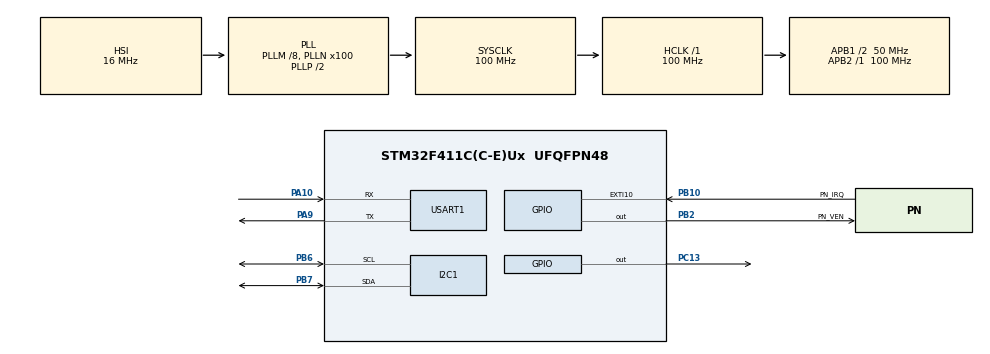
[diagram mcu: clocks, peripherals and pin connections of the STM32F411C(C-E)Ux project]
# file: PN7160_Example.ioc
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I2C1.I2C_Mode=I2C_Fast
Mcu.Family=STM32F4
Mcu.Name=STM32F411C(C-E)Ux
Mcu.Package=UFQFPN48
NVIC.EXTI15_10_IRQn=true\:0\:0\:false\:false\:true\:true\:true\:true
NVIC.PriorityGroup=NVIC_PRIORITYGROUP_4
PA10.Mode=Asynchronous
PA10.Signal=USART1_RX
PA13.Mode=Serial_Wire
PA13.Signal=SYS_JTMS-SWDIO
PA14.Mode=Serial_Wire
PA14.Signal=SYS_JTCK-SWCLK
PA9.Mode=Asynchronous
PA9.Signal=USART1_TX
PB10.GPIO_Label=PN_IRQ
PB10.Signal=GPXTI10
PB2.GPIO_Label=PN_VEN
PB2.Signal=GPIO_Output
PB6.Mode=I2C
PB6.Signal=I2C1_SCL
PB7.Mode=I2C
PB7.Signal=I2C1_SDA
PC13-ANTI_TAMP.Signal=GPIO_Output
PH0\ -\ OSC_IN.Mode=HSE-External-Oscillator
PH0\ -\ OSC_IN.Signal=RCC_OSC_IN
PH1\ -\ OSC_OUT.Mode=HSE-External-Oscillator
PH1\ -\ OSC_OUT.Signal=RCC_OSC_OUT
ProjectManager.HeapSize=0x200
ProjectManager.StackSize=0x400
ProjectManager.TargetToolchain=STM32CubeIDE
RCC.48MHZClocksFreq_Value=50000000
RCC.AHBFreq_Value=100000000
RCC.APB1CLKDivider=RCC_HCLK_DIV2
RCC.APB1Freq_Value=50000000
RCC.APB1TimFreq_Value=100000000
RCC.APB2Freq_Value=100000000
RCC.APB2TimFreq_Value=100000000
RCC.CortexFreq_Value=100000000
RCC.HCLKFreq_Value=100000000
RCC.HSE_VALUE=25000000
RCC.HSI_VALUE=16000000
RCC.LSE_VALUE=32768
RCC.PLLM=8
RCC.PLLN=100
RCC.SYSCLKFreq_VALUE=100000000
RCC.SYSCLKSource=RCC_SYSCLKSOURCE_PLLCLK
RCC.VCOOutputFreq_Value=200000000
USART1.VirtualMode=VM_ASYNC
board=custom

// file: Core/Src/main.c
/* USER CODE BEGIN Header */
/**
  ******************************************************************************
  * @file           : main.c
  * @brief          : Main program body
  ******************************************************************************
  * @attention
  *
  * Copyright (c) 2026 STMicroelectronics.
  * All rights reserved.
  *
  * This software is licensed under terms that can be found in the LICENSE file
  * in the root directory of this software component.
  * If no LICENSE file comes with this software, it is provided AS-IS.
  *
  ******************************************************************************
  */
/* USER CODE END Header */
#include "main.h"

/* USER CODE BEGIN Includes */
#include "ANSII_Codes.h"
#include "PN7160.h"
#include <stdio.h>
#include <string.h>
/* USER CODE END Includes */

/* USER CODE BEGIN PD */
/* -- Tiempos de la batería de pruebas (ajustables) -- */
#define TEST_TAG_MS         20000U  /**< Espera máxima a que se acerque o retire un tag/celular */
#define TEST_TIMEOUT_MS     500U    /**< WaitTag sin tag en el campo: debe tardar esto... */
#define TEST_MARGEN_MS      250U    /**< ...más como mucho esto (RF_DEACTIVATE + su NTF, hasta PN7160_TIMEOUT_MS) */
#define TEST_PRESENTE_MS    1500U   /**< WaitTagRemoval con el tag apoyado: debe agotar este tiempo */
#define TEST_REDETECTAR_MS  2000U   /**< Un tag que sigue apoyado se vuelve a detectar en menos de esto */

/* -- Tags para TestTransceive: 1 = hay que acercar uno de ese tipo, 0 = no se tiene -- */
#define TEST_CON_T2T        1       /**< NTAG / Ultralight */
#define TEST_CON_ISODEP     1       /**< Tarjeta ISO-DEP (bancaria, DESFire, ...) */
#define TEST_CON_MFC        1       /**< MIFARE Classic 1K */

/* -- Clave con formato válido para las pruebas de errores (no toca RF) -- */
#define MFC_CLAVE           0xFFU, 0xFFU, 0xFFU, 0xFFU, 0xFFU, 0xFFU

/* -- MIFARE Classic: las claves conocidas están en mfcClaves (PV) -- */
#define MFC_SECTORES        16U     /**< ponytail: solo 1K; la 4K tiene 40 (32-39 de 16 bloques) */
#define TEST_MFC_BLOQUE     60U     /**< Bloque de datos que se escribe y se restaura */

/* -- UID que anuncia el PN7160 en modo tarjeta (4 bytes, sin 0x08 ni 0x88 al inicio) -- */
#define TEST_CARD_UID       0x12U, 0x34U, 0x56U, 0x78U
/* USER CODE END PD */

/* USER CODE BEGIN PM */
#define PN_CHECK(x)  do { if ((x) != PN7160_OK) { Error_Handler(); } } while (0)
/* Para los tests de error: la llamada debe devolver exactamente el estado esperado */
#define PN_EXPECT(x, st)  do { if ((x) != (st)) { Error_Handler(); } } while (0)
/* Para los tests de valores: la condición debe cumplirse */
#define PN_ASSERT(c)  do { if (!(c)) { Error_Handler(); } } while (0)
/* USER CODE END PM */

I2C_HandleTypeDef hi2c1;

UART_HandleTypeDef huart1;

/* USER CODE BEGIN PV */
PN7160_Status_t status;
static PN7160_Info_t info;              /* identificación leída tras el primer Init */
static PN7160_Tag_t tag;                /* último tag de WaitTag */
static PN7160_Tag_t tagIT;              /* copia del tag que entrega el callback */
static volatile uint8_t tagITListo;     /* lo pone PN7160_TagDetectedCallback */

/* Claves conocidas: en cada sector se prueban, en este orden, como clave A y como clave B */
static const uint8_t mfcClaves[][6] = {
	{ 0xFFU, 0xFFU, 0xFFU, 0xFFU, 0xFFU, 0xFFU },   /* de fábrica */
	{ 0xA0U, 0xA1U, 0xA2U, 0xA3U, 0xA4U, 0xA5U },   /* MAD */
	{ 0xD3U, 0xF7U, 0xD3U, 0xF7U, 0xD3U, 0xF7U },   /* NDEF */
};

/* Ni el bloque 0 (fabricante) ni un trailer: escribir ahí puede inutilizar la tarjeta */
_Static_assert(TEST_MFC_BLOQUE != 0U && (TEST_MFC_BLOQUE % 4U) != 3U && TEST_MFC_BLOQUE < 4U * MFC_SECTORES,
               "TEST_MFC_BLOQUE debe ser un bloque de datos");
/* USER CODE END PV */

void SystemClock_Config(void);
static void MX_GPIO_Init(void);
static void MX_USART1_UART_Init(void);
static void MX_I2C1_Init(void);
/* USER CODE BEGIN PFP */
static PN7160_Status_t PN7160_Iniciar(void);
static void PN7160_TestSuite(void);
static void PN7160_TestPreInit(void);
static void PN7160_TestInfo(void);
static void PN7160_TestErrores(void);
static void PN7160_TestTimeout(void);
static void PN7160_TestLectura(void);
static void PN7160_TestTransceive(void);
static void PN7160_TestIT(void);
static void PN7160_TestModoTarjeta(void);
static void PN7160_TestDeInit(void);
/* USER CODE END PFP */

int main(void)
{

  /* MCU Configuration--------------------------------------------------------*/

  /* Reset of all peripherals, Initializes the Flash interface and the Systick. */
  HAL_Init();

  /* Configure the system clock */
  SystemClock_Config();

  /* Initialize all configured peripherals */
  MX_GPIO_Init();
  MX_USART1_UART_Init();
  MX_I2C1_Init();
  /* USER CODE BEGIN 2 */
  printf(CLEAR_SCREEN CURSOR_HOME COLOR_BOLD COLOR_CYAN "=== Pruebas PN7160 ===" COLOR_RESET "\r\n");
  PN7160_TestPreInit();

  status = PN7160_Iniciar();
  if(status != PN7160_OK)
  {
	  Error_Handler();
  }
  else
  {
	  HAL_GPIO_WritePin(GPIOC, GPIO_PIN_13, GPIO_PIN_RESET);
  }
  PN_CHECK(PN7160_GetInfo(&info));
  /* USER CODE END 2 */

  /* Infinite loop */
  while (1)
  {

    /* USER CODE BEGIN 3 */
    PN7160_TestSuite();
  }
  /* USER CODE END 3 */
}

void SystemClock_Config(void)
{
  RCC_OscInitTypeDef RCC_OscInitStruct = {0};
  RCC_ClkInitTypeDef RCC_ClkInitStruct = {0};

  /** Configure the main internal regulator output voltage
  */
  __HAL_RCC_PWR_CLK_ENABLE();
  __HAL_PWR_VOLTAGESCALING_CONFIG(PWR_REGULATOR_VOLTAGE_SCALE1);

  /** Initializes the RCC Oscillators according to the specified parameters
  * in the RCC_OscInitTypeDef structure.
  */
  RCC_OscInitStruct.OscillatorType = RCC_OSCILLATORTYPE_HSI;
  RCC_OscInitStruct.HSIState = RCC_HSI_ON;
  RCC_OscInitStruct.HSICalibrationValue = RCC_HSICALIBRATION_DEFAULT;
  RCC_OscInitStruct.PLL.PLLState = RCC_PLL_ON;
  RCC_OscInitStruct.PLL.PLLSource = RCC_PLLSOURCE_HSI;
  RCC_OscInitStruct.PLL.PLLM = 8;
  RCC_OscInitStruct.PLL.PLLN = 100;
  RCC_OscInitStruct.PLL.PLLP = RCC_PLLP_DIV2;
  RCC_OscInitStruct.PLL.PLLQ = 4;
  if (HAL_RCC_OscConfig(&RCC_OscInitStruct) != HAL_OK)
  {
    Error_Handler();
  }

  /** Initializes the CPU, AHB and APB buses clocks
  */
  RCC_ClkInitStruct.ClockType = RCC_CLOCKTYPE_HCLK|RCC_CLOCKTYPE_SYSCLK
                              |RCC_CLOCKTYPE_PCLK1|RCC_CLOCKTYPE_PCLK2;
  RCC_ClkInitStruct.SYSCLKSource = RCC_SYSCLKSOURCE_PLLCLK;
  RCC_ClkInitStruct.AHBCLKDivider = RCC_SYSCLK_DIV1;
  RCC_ClkInitStruct.APB1CLKDivider = RCC_HCLK_DIV2;
  RCC_ClkInitStruct.APB2CLKDivider = RCC_HCLK_DIV1;

  if (HAL_RCC_ClockConfig(&RCC_ClkInitStruct, FLASH_LATENCY_3) != HAL_OK)
  {
    Error_Handler();
  }
}

static void MX_I2C1_Init(void)
{

  hi2c1.Instance = I2C1;
  hi2c1.Init.ClockSpeed = 400000;
  hi2c1.Init.DutyCycle = I2C_DUTYCYCLE_2;
  hi2c1.Init.OwnAddress1 = 0;
  hi2c1.Init.AddressingMode = I2C_ADDRESSINGMODE_7BIT;
  hi2c1.Init.DualAddressMode = I2C_DUALADDRESS_DISABLE;
  hi2c1.Init.OwnAddress2 = 0;
  hi2c1.Init.GeneralCallMode = I2C_GENERALCALL_DISABLE;
  hi2c1.Init.NoStretchMode = I2C_NOSTRETCH_DISABLE;
  if (HAL_I2C_Init(&hi2c1) != HAL_OK)
  {
    Error_Handler();
  }

}

static void MX_USART1_UART_Init(void)
{

  huart1.Instance = USART1;
  huart1.Init.BaudRate = 115200;
  huart1.Init.WordLength = UART_WORDLENGTH_8B;
  huart1.Init.StopBits = UART_STOPBITS_1;
  huart1.Init.Parity = UART_PARITY_NONE;
  huart1.Init.Mode = UART_MODE_TX_RX;
  huart1.Init.HwFlowCtl = UART_HWCONTROL_NONE;
  huart1.Init.OverSampling = UART_OVERSAMPLING_16;
  if (HAL_UART_Init(&huart1) != HAL_OK)
  {
    Error_Handler();
  }

}

static void MX_GPIO_Init(void)
{
  GPIO_InitTypeDef GPIO_InitStruct = {0};

  /* GPIO Ports Clock Enable */
  __HAL_RCC_GPIOC_CLK_ENABLE();
  __HAL_RCC_GPIOH_CLK_ENABLE();
  __HAL_RCC_GPIOB_CLK_ENABLE();
  __HAL_RCC_GPIOA_CLK_ENABLE();

  /*Configure GPIO pin Output Level */
  HAL_GPIO_WritePin(GPIOC, GPIO_PIN_13, GPIO_PIN_RESET);

  /*Configure GPIO pin Output Level */
  HAL_GPIO_WritePin(PN_VEN_GPIO_Port, PN_VEN_Pin, GPIO_PIN_RESET);

  /*Configure GPIO pin : PC13 */
  GPIO_InitStruct.Pin = GPIO_PIN_13;
  GPIO_InitStruct.Mode = GPIO_MODE_OUTPUT_PP;
  GPIO_InitStruct.Pull = GPIO_NOPULL;
  GPIO_InitStruct.Speed = GPIO_SPEED_FREQ_LOW;
  HAL_GPIO_Init(GPIOC, &GPIO_InitStruct);

  /*Configure GPIO pin : PN_VEN_Pin */
  GPIO_InitStruct.Pin = PN_VEN_Pin;
  GPIO_InitStruct.Mode = GPIO_MODE_OUTPUT_PP;
  GPIO_InitStruct.Pull = GPIO_NOPULL;
  GPIO_InitStruct.Speed = GPIO_SPEED_FREQ_LOW;
  HAL_GPIO_Init(PN_VEN_GPIO_Port, &GPIO_InitStruct);

  /*Configure GPIO pin : PN_IRQ_Pin */
  GPIO_InitStruct.Pin = PN_IRQ_Pin;
  GPIO_InitStruct.Mode = GPIO_MODE_IT_RISING;
  GPIO_InitStruct.Pull = GPIO_NOPULL;
  HAL_GPIO_Init(PN_IRQ_GPIO_Port, &GPIO_InitStruct);

  /* EXTI interrupt init*/
  HAL_NVIC_SetPriority(EXTI15_10_IRQn, 0, 0);
  HAL_NVIC_EnableIRQ(EXTI15_10_IRQn);

}

/* USER CODE BEGIN 4 */

/* printf por USART1 (PA9): syscalls.c redirige _write a esta función débil */
int __io_putchar(int ch)
{
	uint8_t c = (uint8_t)ch;
	HAL_UART_Transmit(&huart1, &c, 1, HAL_MAX_DELAY);
	return ch;
}

/* IRQ del PN7160 (PB10, flanco de subida): solo marca la bandera, el trabajo lo hace PN7160_Process */
void HAL_GPIO_EXTI_Callback(uint16_t GPIO_Pin)
{
	if (GPIO_Pin == PN_IRQ_Pin)
	{
		PN7160_IRQ_Handler();
	}
}

/* Redefine el callback __weak de la librería: copia el tag y avisa al bucle de TestIT */
void PN7160_TagDetectedCallback(const PN7160_Tag_t* t)
{
	tagIT = *t;
	tagITListo = 1U;
}

static PN7160_Status_t PN7160_Iniciar(void)
{
	return PN7160_Init(&hi2c1, PN_VEN_GPIO_Port, PN_VEN_Pin, PN_IRQ_GPIO_Port, PN_IRQ_Pin);
}

static void PN7160_ImprimirHex(const char* nombre, const uint8_t* d, uint16_t n)
{
	printf("  %s", nombre);
	for (uint16_t i = 0; i < n; i++)
	{
		printf(" %02X", d[i]);
	}
	printf("\r\n");
}

static void PN7160_Imprimir(const PN7160_Tag_t* t)
{
	printf("  Tec 0x%02X  Proto 0x%02X  ATQA %02X %02X  SAK 0x%02X\r\n",
	       t->tecnologia, t->protocolo, t->atqa[0], t->atqa[1], t->sak);
	PN7160_ImprimirHex("UID:", t->uid, t->uidLen);
}

/* Coherencia de un tag leído en modo lector: longitud de UID por tecnología y SAK por protocolo */
static void PN7160_CheckTag(const PN7160_Tag_t* t)
{
	switch (t->tecnologia)
	{
	case PN7160_TEC_NFC_A:
		PN_ASSERT(t->uidLen == 4U || t->uidLen == 7U || t->uidLen == 10U);
		PN_ASSERT(t->atqa[0] != 0U || t->atqa[1] != 0U);
		if (t->protocolo == PN7160_PROT_T2T)    { PN_ASSERT(t->sak == 0x00U); }
		if (t->protocolo == PN7160_PROT_ISODEP) { PN_ASSERT((t->sak & 0x20U) != 0U); }   /* bit ISO 14443-4 */
		if (t->protocolo == PN7160_PROT_MIFARE) { PN_ASSERT((t->sak & 0x18U) != 0U); }   /* 0x08 1K, 0x18 4K, 0x09 Mini */
		break;
	case PN7160_TEC_NFC_B:
		PN_ASSERT(t->uidLen == 4U);
		break;
	case PN7160_TEC_NFC_F:
	case PN7160_TEC_NFC_V:
		PN_ASSERT(t->uidLen == 8U);
		break;
	default:
		PN_ASSERT(0);
	}

	/* ATQA y SAK solo existen en NFC-A */
	if (t->tecnologia != PN7160_TEC_NFC_A)
	{
		PN_ASSERT(t->atqa[0] == 0U && t->atqa[1] == 0U && t->sak == 0U);
	}
}

/* Mismo tag en dos lecturas. Un NFCID1 de 4 bytes que empieza por 0x08 (ISO 14443-3) y el
   PUPI de NFC-B pueden ser aleatorios: cambian en cada activación, así que no se comparan */
static uint8_t PN7160_MismoTag(const PN7160_Tag_t* a, const PN7160_Tag_t* b)
{
	uint8_t uidAleatorio = (a->tecnologia == PN7160_TEC_NFC_B) ||
	                       (a->tecnologia == PN7160_TEC_NFC_A && a->uidLen == 4U && a->uid[0] == 0x08U);

	return a->tecnologia == b->tecnologia && a->protocolo == b->protocolo &&
	       a->uidLen == b->uidLen && a->sak == b->sak && memcmp(a->atqa, b->atqa, 2) == 0 &&
	       (uidAleatorio || memcmp(a->uid, b->uid, a->uidLen) == 0);
}

/* Pide un tag y espera hasta TEST_TAG_MS */
static void PN7160_EsperarTag(const char* que, uint8_t keepActive)
{
	printf("  Acerca %s...\r\n", que);
	uint32_t t0 = HAL_GetTick();
	status = PN7160_WaitTag(&tag, TEST_TAG_MS, keepActive);
	if (status != PN7160_OK)
	{
		printf("  WaitTag devolvio %d (1 = ERROR, 2 = TIMEOUT) a los %lu ms\r\n",
		       (int)status, (unsigned long)(HAL_GetTick() - t0));
		Error_Handler();
	}
	PN7160_Imprimir(&tag);
}

/* Deja el campo vacío: si queda algo (tag o celular) lo activa y espera a que se retire */
static void PN7160_EsperarRetirada(void)
{
	status = PN7160_WaitTag(&tag, 1000U, 1U);
	if (status == PN7160_TIMEOUT)
	{
		return;   /* ya no había nada */
	}
	PN_CHECK(status);

	printf("  Retira el tag...\r\n");
	PN_CHECK(PN7160_WaitTagRemoval(TEST_TAG_MS));
}

/* Atiende el descubrimiento IT hasta que llega el callback o pasan ms; 1 = llegó */
static uint8_t PN7160_ProcesarHasta(uint32_t ms)
{
	uint32_t t0 = HAL_GetTick();
	while (!tagITListo && (HAL_GetTick() - t0) < ms)
	{
		PN_CHECK(PN7160_Process());
	}
	return tagITListo;
}

/* Parámetros inválidos: se validan antes del estado, así que dan INVALID_PARAM con o sin Init */
static void PN7160_CheckParametros(void)
{
	static const uint8_t uid[] = { TEST_CARD_UID };
	uint8_t rx[4];
	uint16_t n = sizeof(rx);

	PN_EXPECT(PN7160_Init(NULL, PN_VEN_GPIO_Port, PN_VEN_Pin, PN_IRQ_GPIO_Port, PN_IRQ_Pin), PN7160_INVALID_PARAM);
	PN_EXPECT(PN7160_Init(&hi2c1, NULL, PN_VEN_Pin, PN_IRQ_GPIO_Port, PN_IRQ_Pin), PN7160_INVALID_PARAM);
	PN_EXPECT(PN7160_Init(&hi2c1, PN_VEN_GPIO_Port, PN_VEN_Pin, NULL, PN_IRQ_Pin), PN7160_INVALID_PARAM);

	PN_EXPECT(PN7160_GetInfo(NULL), PN7160_INVALID_PARAM);
	PN_EXPECT(PN7160_SetMode((PN7160_Mode_t)2), PN7160_INVALID_PARAM);

	PN_EXPECT(PN7160_SetCardUid(uid, 3U), PN7160_INVALID_PARAM);
	PN_EXPECT(PN7160_SetCardUid(uid, 5U), PN7160_INVALID_PARAM);
	PN_EXPECT(PN7160_SetCardUid(uid, 11U), PN7160_INVALID_PARAM);
	PN_EXPECT(PN7160_SetCardUid(NULL, 4U), PN7160_INVALID_PARAM);

	PN_EXPECT(PN7160_WaitTag(NULL, 10U, 0U), PN7160_INVALID_PARAM);

	PN_EXPECT(PN7160_Transceive(NULL, 1U, rx, &n), PN7160_INVALID_PARAM);
	PN_EXPECT(PN7160_Transceive(uid, 1U, NULL, &n), PN7160_INVALID_PARAM);
	PN_EXPECT(PN7160_Transceive(uid, 1U, rx, NULL), PN7160_INVALID_PARAM);
}

/* Con el módulo sin inicializar, todo debe devolver NOT_INITIALIZED sin tocar el bus */
static void PN7160_CheckSinInit(void)
{
	static const uint8_t uid[] = { TEST_CARD_UID };
	static const uint8_t clave[6] = { MFC_CLAVE };
	PN7160_Info_t inf;
	uint8_t rx[4], rx16[16] = { 0 };
	uint16_t n = sizeof(rx);

	PN_EXPECT(PN7160_DeInit(), PN7160_NOT_INITIALIZED);
	PN_EXPECT(PN7160_GetInfo(&inf), PN7160_NOT_INITIALIZED);
	PN_EXPECT(PN7160_SetMode(PN7160_MODE_READER), PN7160_NOT_INITIALIZED);
	PN_EXPECT(PN7160_SetCardUid(uid, sizeof(uid)), PN7160_NOT_INITIALIZED);
	PN_EXPECT(PN7160_SetCardUid(NULL, 0U), PN7160_NOT_INITIALIZED);
	PN_EXPECT(PN7160_WaitTag(&tag, 10U, 0U), PN7160_NOT_INITIALIZED);
	PN_EXPECT(PN7160_Transceive(NULL, 0U, rx, &n), PN7160_NOT_INITIALIZED);
	PN_EXPECT(PN7160_ReleaseTag(), PN7160_NOT_INITIALIZED);
	PN_EXPECT(PN7160_WaitTagRemoval(10U), PN7160_NOT_INITIALIZED);
	PN_EXPECT(PN7160_MfcAuth(0U, 0U, clave), PN7160_NOT_INITIALIZED);
	PN_EXPECT(PN7160_MfcRead(0U, rx16), PN7160_NOT_INITIALIZED);
	PN_EXPECT(PN7160_MfcWrite(4U, rx16), PN7160_NOT_INITIALIZED);
	PN_EXPECT(PN7160_StartDiscoveryIT(0U), PN7160_NOT_INITIALIZED);
	PN_EXPECT(PN7160_Process(), PN7160_NOT_INITIALIZED);

	/* Solo pone una bandera: no debe colgarse ni hacer que Process trabaje sin Init */
	PN7160_IRQ_Handler();
	PN_EXPECT(PN7160_Process(), PN7160_NOT_INITIALIZED);
}

static void PN7160_TestSuite(void)
{
	PN7160_TestInfo();
	HAL_Delay(2000);

	PN7160_TestErrores();
	HAL_Delay(2000);

	PN7160_TestTimeout();
	HAL_Delay(2000);

	PN7160_TestLectura();
	HAL_Delay(2000);

	PN7160_TestTransceive();
	HAL_Delay(2000);

	PN7160_TestIT();
	HAL_Delay(2000);

	PN7160_TestModoTarjeta();
	HAL_Delay(2000);

	PN7160_TestDeInit();
	HAL_Delay(2000);
}

static void PN7160_TestPreInit(void)
{
	/* -- Antes de Init: parámetros inválidos y NOT_INITIALIZED en todo -- */
	printf(COLOR_YELLOW "[PreInit]" COLOR_RESET "\r\n");
	PN7160_CheckParametros();
	PN7160_CheckSinInit();

	printf(COLOR_GREEN "PreInit OK" COLOR_RESET "\r\n");
}

static void PN7160_TestInfo(void)
{
	PN7160_Info_t inf;

	/* -- Model ID y firmware del CORE_RESET_NTF; GetInfo no habla con el chip -- */
	printf(COLOR_YELLOW "[Info]" COLOR_RESET "\r\n");
	PN_CHECK(PN7160_GetInfo(&inf));
	printf("  Modelo 0x%02X (%s)  Firmware %02X.%02X.%02X\r\n", inf.modelo,
	       (inf.modelo == 0x61U) ? "PN7160" : (inf.modelo == 0x71U) ? "PN7161" : "?",
	       inf.firmware[0], inf.firmware[1], inf.firmware[2]);
	PN_ASSERT(inf.modelo == 0x61U || inf.modelo == 0x71U);

	/* Es la copia del último Init: igual a la que se guardó al arrancar */
	PN_ASSERT(memcmp(&inf, &info, sizeof(inf)) == 0);

	printf(COLOR_GREEN "Info OK" COLOR_RESET "\r\n");
}

static void PN7160_TestErrores(void)
{
	PN7160_Info_t inf;
	uint8_t rx[4];
	uint16_t n = sizeof(rx);

	/* -- Ya inicializado: parámetros inválidos siguen dando INVALID_PARAM -- */
	printf(COLOR_YELLOW "[Errores]" COLOR_RESET "\r\n");
	PN7160_CheckParametros();

	/* Un Init con parámetros inválidos no desinicializa el módulo */
	PN_CHECK(PN7160_GetInfo(&inf));

	/* -- Sin tag activado: Transceive y WaitTagRemoval dan ERROR, ReleaseTag no hace nada -- */
	PN_EXPECT(PN7160_Transceive(NULL, 0U, rx, &n), PN7160_ERROR);
	PN_EXPECT(PN7160_WaitTagRemoval(100U), PN7160_ERROR);
	PN_CHECK(PN7160_ReleaseTag());

	/* -- MIFARE: NULL da INVALID_PARAM; sin tag activado, ERROR -- */
	static const uint8_t clave[6] = { MFC_CLAVE };
	uint8_t bloque[16] = { 0 };
	PN_EXPECT(PN7160_MfcAuth(0U, 0U, NULL), PN7160_INVALID_PARAM);
	PN_EXPECT(PN7160_MfcAuth(40U, 0U, clave), PN7160_INVALID_PARAM);    /* 4K llega al sector 39 */
	PN_EXPECT(PN7160_MfcAuth(0U, 2U, clave), PN7160_INVALID_PARAM);     /* keyB es 0 o 1 */
	PN_EXPECT(PN7160_MfcRead(0U, NULL), PN7160_INVALID_PARAM);
	PN_EXPECT(PN7160_MfcWrite(4U, NULL), PN7160_INVALID_PARAM);
	PN_EXPECT(PN7160_MfcAuth(0U, 0U, clave), PN7160_ERROR);
	PN_EXPECT(PN7160_MfcRead(0U, bloque), PN7160_ERROR);
	PN_EXPECT(PN7160_MfcWrite(4U, bloque), PN7160_ERROR);

	/* -- Sin descubrimiento IT armado, Process regresa de inmediato -- */
	PN_CHECK(PN7160_Process());

	/* -- Modo lector sobre modo lector y UID dinámico en modo lector: solo configuran -- */
	PN_CHECK(PN7160_SetMode(PN7160_MODE_READER));
	PN_CHECK(PN7160_SetCardUid(NULL, 0U));

	printf(COLOR_GREEN "Errores OK" COLOR_RESET "\r\n");
}

static void PN7160_TestTimeout(void)
{
	/* -- Sin tag en el campo, WaitTag agota exactamente su tiempo -- */
	printf(COLOR_YELLOW "[Timeout]" COLOR_RESET "\r\n");
	PN7160_EsperarRetirada();

	uint32_t t0 = HAL_GetTick();
	PN_EXPECT(PN7160_WaitTag(&tag, TEST_TIMEOUT_MS, 0U), PN7160_TIMEOUT);
	uint32_t dt = HAL_GetTick() - t0;
	printf("  WaitTag(%u ms) tardo %lu ms\r\n", (unsigned)TEST_TIMEOUT_MS, (unsigned long)dt);
	PN_ASSERT(dt >= TEST_TIMEOUT_MS && dt < TEST_TIMEOUT_MS + TEST_MARGEN_MS);

	/* Con keepActive = 1 también vuelve a RFST_IDLE: no queda tag para Transceive */
	PN_EXPECT(PN7160_WaitTag(&tag, TEST_TIMEOUT_MS, 1U), PN7160_TIMEOUT);
	PN_EXPECT(PN7160_WaitTagRemoval(100U), PN7160_ERROR);

	/* timeoutMs = 0: arranca y cancela el descubrimiento sin esperar */
	PN_EXPECT(PN7160_WaitTag(&tag, 0U, 0U), PN7160_TIMEOUT);

	printf(COLOR_GREEN "Timeout OK" COLOR_RESET "\r\n");
}

static void PN7160_TestLectura(void)
{
	PN7160_Tag_t primero;
	uint8_t rx[4];
	uint16_t n = sizeof(rx);

	/* -- Lectura sin keepActive: datos coherentes y vuelve a RFST_IDLE -- */
	printf(COLOR_YELLOW "[Lectura]" COLOR_RESET "\r\n");
	PN7160_EsperarTag("un tag cualquiera y dejalo apoyado", 0U);
	PN7160_CheckTag(&tag);
	primero = tag;

	PN_EXPECT(PN7160_Transceive(NULL, 0U, rx, &n), PN7160_ERROR);
	PN_EXPECT(PN7160_WaitTagRemoval(100U), PN7160_ERROR);

	/* -- Mismo tag, ahora activado: mismos datos -- */
	PN_CHECK(PN7160_WaitTag(&tag, TEST_REDETECTAR_MS, 1U));
	PN_ASSERT(PN7160_MismoTag(&tag, &primero));

	/* -- Con el tag apoyado WaitTagRemoval agota su tiempo y deja RFST_IDLE (sin tag activado) -- */
	uint32_t t0 = HAL_GetTick();
	PN_EXPECT(PN7160_WaitTagRemoval(TEST_PRESENTE_MS), PN7160_TIMEOUT);
	PN_ASSERT((HAL_GetTick() - t0) >= TEST_PRESENTE_MS);
	PN_EXPECT(PN7160_WaitTagRemoval(100U), PN7160_ERROR);

	/* -- Activado otra vez: ahora sí se retira -- */
	PN_CHECK(PN7160_WaitTag(&tag, TEST_REDETECTAR_MS, 1U));
	printf("  Retira el tag...\r\n");
	PN_CHECK(PN7160_WaitTagRemoval(TEST_TAG_MS));

	/* Retirado y en RFST_IDLE: sin tag en el campo, el siguiente WaitTag no encuentra nada */
	PN_EXPECT(PN7160_WaitTag(&tag, TEST_TIMEOUT_MS, 0U), PN7160_TIMEOUT);

	printf(COLOR_GREEN "Lectura OK" COLOR_RESET "\r\n");
}

/* T2T (Frame RF): READ 0x30 devuelve 4 páginas (16 bytes) + byte de estado NCI */
static void PN7160_ProbarT2T(void)
{
	static const uint8_t leer0[] = { 0x30U, 0x00U };   /* READ desde la página 0 */
	uint8_t pag[32];
	uint8_t rx[32];
	uint16_t n = sizeof(pag);

	PN_CHECK(PN7160_Transceive(leer0, sizeof(leer0), pag, &n));
	PN7160_ImprimirHex("Paginas 0-3:", pag, n);
	PN_ASSERT(n == 17U && pag[16] == 0x00U);

	/* Página 0 = UID0 UID1 UID2 BCC0, página 1 = UID3..UID6; BCC0 = 0x88 ^ UID0 ^ UID1 ^ UID2 */
	if (tag.uidLen == 7U)
	{
		PN_ASSERT(memcmp(&pag[0], &tag.uid[0], 3) == 0 && memcmp(&pag[4], &tag.uid[3], 4) == 0);
		PN_ASSERT(pag[3] == (uint8_t)(0x88U ^ tag.uid[0] ^ tag.uid[1] ^ tag.uid[2]));
	}

	/* -- Buffer chico: devuelve ERROR con los bytes que sí cupieron, y el tag sigue respondiendo -- */
	n = 4U;
	PN_EXPECT(PN7160_Transceive(leer0, sizeof(leer0), rx, &n), PN7160_ERROR);
	PN_ASSERT(n == 4U && memcmp(rx, pag, 4) == 0);

	n = sizeof(rx);
	PN_CHECK(PN7160_Transceive(leer0, sizeof(leer0), rx, &n));
	PN_ASSERT(n == 17U && memcmp(rx, pag, 17) == 0);
}

/* ISO-DEP: APDU completos. SELECT PPSE responde 9000 en una bancaria, otro SW en el resto */
static void PN7160_ProbarIsoDep(void)
{
	static const uint8_t ppse[] = { 0x00U, 0xA4U, 0x04U, 0x00U, 0x0EU,
	                                '2', 'P', 'A', 'Y', '.', 'S', 'Y', 'S', '.', 'D', 'D', 'F', '0', '1',
	                                0x00U };
	uint8_t rx[258];
	uint16_t n = sizeof(rx);

	PN_CHECK(PN7160_Transceive(ppse, sizeof(ppse), rx, &n));
	PN7160_ImprimirHex("R-APDU:", rx, n);
	PN_ASSERT(n >= 2U);

	/* SW1 válido según ISO 7816-4: 0x6X o 0x9X */
	uint8_t sw1 = rx[n - 2U];
	printf("  SW %02X%02X (9000 = bancaria, 6A82 = sin PPSE)\r\n", sw1, rx[n - 1U]);
	PN_ASSERT((sw1 & 0xF0U) == 0x60U || (sw1 & 0xF0U) == 0x90U);
}

/* Una clave incorrecta deja la tarjeta en HALT: se apaga el campo y se vuelve a activar */
static void PN7160_ReactivarMfc(void)
{
	PN7160_Tag_t antes = tag;

	PN_CHECK(PN7160_ReleaseTag());
	PN_CHECK(PN7160_WaitTag(&tag, TEST_REDETECTAR_MS, 1U));
	PN_ASSERT(PN7160_MismoTag(&tag, &antes));
}

/* Prueba las claves de mfcClaves en el sector (keyB: 0 = A, 1 = B) y devuelve el índice de la que
   entra. Una clave incorrecta debe dar exactamente ERROR; si ninguna entra, la prueba falla */
static uint8_t PN7160_BuscarClaveMfc(uint8_t sector, uint8_t keyB)
{
	char nombre[24];

	for (uint8_t k = 0; k < sizeof(mfcClaves) / sizeof(mfcClaves[0]); k++)
	{
		status = PN7160_MfcAuth(sector, keyB, mfcClaves[k]);
		if (status == PN7160_OK)
		{
			snprintf(nombre, sizeof(nombre), "Sector %2u, clave %c:", (unsigned)sector, keyB ? 'B' : 'A');
			PN7160_ImprimirHex(nombre, mfcClaves[k], 6U);
			return k;
		}
		PN_ASSERT(status == PN7160_ERROR);
		PN7160_ReactivarMfc();
	}

	printf("  Sector %u: ninguna clave %c conocida\r\n", (unsigned)sector, keyB ? 'B' : 'A');
	Error_Handler();
	return 0U;
}

/* MIFARE Classic con los wrappers del driver (TAG-CMD de NXP): busca las claves A y B de cada
   sector, vuelca la tarjeta y escribe TEST_MFC_BLOQUE restaurándolo después */
static void PN7160_ProbarMfc(void)
{
	static const uint8_t ceros[6] = { 0 };
	uint8_t claveA[MFC_SECTORES];
	uint8_t rx[16], orig[16], patron[16];
	char nombre[24];

	/* -- Volcado: claves B y A de cada sector, y lectura de sus 4 bloques con la A -- */
	for (uint8_t s = 0; s < MFC_SECTORES; s++)
	{
		/* La B solo se busca: si los access bits dejan leerla, autentica pero no da acceso a los
		   bloques. La A va después porque es con la que se lee */
		(void)PN7160_BuscarClaveMfc(s, 1U);
		claveA[s] = PN7160_BuscarClaveMfc(s, 0U);

		for (uint8_t b = 4U * s; b < 4U * s + 4U; b++)
		{
			PN_CHECK(PN7160_MfcRead(b, rx));
			snprintf(nombre, sizeof(nombre), "  Bloque %2u:", (unsigned)b);
			PN7160_ImprimirHex(nombre, rx, sizeof(rx));
		}

		/* La clave A nunca se puede leer: el trailer (último bloque leído) la devuelve en ceros */
		PN_ASSERT(memcmp(rx, ceros, sizeof(ceros)) == 0);

		/* El bloque 0 (fabricante) empieza por el UID; con 4 bytes le sigue el BCC (XOR del UID) */
		if (s == 0U)
		{
			PN_CHECK(PN7160_MfcRead(0U, rx));
			PN_ASSERT(memcmp(rx, tag.uid, tag.uidLen) == 0);
			if (tag.uidLen == 4U)
			{
				PN_ASSERT(rx[4] == (uint8_t)(tag.uid[0] ^ tag.uid[1] ^ tag.uid[2] ^ tag.uid[3]));
			}
		}
	}

	/* -- Escritura: patrón invertido, relectura, y se restaura el original antes de comprobar -- */
	const uint8_t s = TEST_MFC_BLOQUE / 4U;
	PN_CHECK(PN7160_MfcAuth(s, 0U, mfcClaves[claveA[s]]));
	PN_CHECK(PN7160_MfcRead(TEST_MFC_BLOQUE, orig));
	for (uint8_t i = 0; i < sizeof(patron); i++)
	{
		patron[i] = (uint8_t)~orig[i];
	}

	PN_CHECK(PN7160_MfcWrite(TEST_MFC_BLOQUE, patron));
	PN_CHECK(PN7160_MfcRead(TEST_MFC_BLOQUE, rx));
	uint8_t escrito = (memcmp(rx, patron, sizeof(rx)) == 0);

	PN_CHECK(PN7160_MfcWrite(TEST_MFC_BLOQUE, orig));
	PN_CHECK(PN7160_MfcRead(TEST_MFC_BLOQUE, rx));
	printf("  Bloque %u: escrito %s, restaurado %s\r\n", (unsigned)TEST_MFC_BLOQUE,
	       escrito ? "OK" : "MAL", (memcmp(rx, orig, sizeof(rx)) == 0) ? "OK" : "MAL");
	PN_ASSERT(escrito && memcmp(rx, orig, sizeof(rx)) == 0);
}

static void PN7160_TestTransceive(void)
{
	uint8_t faltaT2T = TEST_CON_T2T, faltaIsoDep = TEST_CON_ISODEP, faltaMfc = TEST_CON_MFC;
	uint8_t rx[4], bloque[16];
	uint16_t n;

	/* -- Un tag de cada protocolo, en cualquier orden; repetir uno no cuenta dos veces -- */
	printf(COLOR_YELLOW "[Transceive]" COLOR_RESET "\r\n");
	while (faltaT2T || faltaIsoDep || faltaMfc)
	{
		printf("  Faltan:%s%s%s\r\n", faltaT2T ? " T2T" : "", faltaIsoDep ? " ISO-DEP" : "",
		       faltaMfc ? " MIFARE-Classic" : "");
		PN7160_EsperarTag("uno de ellos", 1U);
		PN7160_CheckTag(&tag);

		/* -- Los wrappers MIFARE rechazan otro protocolo sin mandar nada por RF -- */
		if (tag.protocolo != PN7160_PROT_MIFARE)
		{
			PN_EXPECT(PN7160_MfcRead(0U, bloque), PN7160_ERROR);
		}

		switch (tag.protocolo)
		{
		case PN7160_PROT_T2T:    PN7160_ProbarT2T();    faltaT2T = 0U;    break;
		case PN7160_PROT_ISODEP: PN7160_ProbarIsoDep(); faltaIsoDep = 0U; break;
		case PN7160_PROT_MIFARE: PN7160_ProbarMfc();    faltaMfc = 0U;    break;
		default:           printf("  Protocolo sin prueba de Transceive\r\n"); break;
		}

		/* -- ReleaseTag apaga el campo: ya no hay tag para Transceive; repetirlo no hace nada -- */
		PN_CHECK(PN7160_ReleaseTag());
		n = sizeof(rx);
		PN_EXPECT(PN7160_Transceive(NULL, 0U, rx, &n), PN7160_ERROR);
		PN_CHECK(PN7160_ReleaseTag());

		PN7160_EsperarRetirada();
	}

	printf(COLOR_GREEN "Transceive OK" COLOR_RESET "\r\n");
}

static void PN7160_TestIT(void)
{
	PN7160_Tag_t primero;
	uint8_t rx[4];
	uint16_t n = sizeof(rx);

	/* -- Detección por callback, dejando el tag activado -- */
	printf(COLOR_YELLOW "[Interrupcion]" COLOR_RESET "\r\n");
	tagITListo = 0U;
	PN_CHECK(PN7160_StartDiscoveryIT(1U));
	printf("  Acerca un tag y dejalo apoyado...\r\n");
	PN_ASSERT(PN7160_ProcesarHasta(TEST_TAG_MS));
	PN7160_Imprimir(&tagIT);
	PN7160_CheckTag(&tagIT);
	primero = tagIT;

	/* Es de un solo disparo: sin rearmar, Process no vuelve a llamar al callback */
	tagITListo = 0U;
	PN_ASSERT(!PN7160_ProcesarHasta(TEST_REDETECTAR_MS));
	PN_CHECK(PN7160_ReleaseTag());

	/* -- Cancelación: con el tag apoyado, ReleaseTag desarma el descubrimiento y no llega callback -- */
	PN_CHECK(PN7160_StartDiscoveryIT(0U));
	PN_CHECK(PN7160_ReleaseTag());
	PN_ASSERT(!PN7160_ProcesarHasta(TEST_REDETECTAR_MS));

	/* -- Rearmado sin keepActive: el mismo tag se detecta otra vez y queda en RFST_IDLE -- */
	PN_CHECK(PN7160_StartDiscoveryIT(0U));
	PN_ASSERT(PN7160_ProcesarHasta(TEST_REDETECTAR_MS));
	PN_ASSERT(PN7160_MismoTag(&tagIT, &primero));
	PN_EXPECT(PN7160_Transceive(NULL, 0U, rx, &n), PN7160_ERROR);

	PN7160_EsperarRetirada();

	printf(COLOR_GREEN "Interrupcion OK" COLOR_RESET "\r\n");
}

static void PN7160_TestModoTarjeta(void)
{
	static const uint8_t uid[] = { TEST_CARD_UID };
	static const uint8_t noEncontrado[] = { 0x6AU, 0x82U };   /* SW: aplicación no encontrada */
	uint8_t capdu[64];
	uint16_t n = sizeof(capdu);

	/* -- En modo lector SetCardUid solo guarda el UID; SetMode(CARD) lo envía -- */
	printf(COLOR_YELLOW "[ModoTarjeta]" COLOR_RESET "\r\n");
	PN_CHECK(PN7160_SetCardUid(uid, sizeof(uid)));
	PN_CHECK(PN7160_SetMode(PN7160_MODE_CARD));

	printf("  Acerca el celular (NFC Tools > Leer)\r\n");
	printf("  Debe verse: ISO 14443-4, ");
	PN7160_ImprimirHex("UID", uid, sizeof(uid));
	PN_CHECK(PN7160_WaitTag(&tag, TEST_TAG_MS, 1U));
	PN7160_Imprimir(&tag);
	PN_ASSERT(tag.tecnologia == PN7160_TEC_NFC_A_ESCUCHA && tag.protocolo == PN7160_PROT_ISODEP && tag.uidLen == 0U);
	PN_ASSERT(tag.atqa[0] == 0U && tag.atqa[1] == 0U && tag.sak == 0U);

	/* -- Orden inverso: con txLen = 0 se recibe el primer C-APDU del lector -- */
	PN_CHECK(PN7160_Transceive(NULL, 0U, capdu, &n));
	PN7160_ImprimirHex("C-APDU:", capdu, n);
	PN_ASSERT(n >= 4U);   /* CLA INS P1 P2 como mínimo */

	/* La R-APDU sale y llega el siguiente C-APDU; el lector también puede irse (ERROR o TIMEOUT) */
	n = sizeof(capdu);
	status = PN7160_Transceive(noEncontrado, sizeof(noEncontrado), capdu, &n);
	printf("  Tras responder 6A82: estado %d, %u bytes\r\n", (int)status, (unsigned)n);

	PN7160_EsperarRetirada();

	/* -- Ya en modo tarjeta, SetCardUid se aplica en el acto: vuelve al UID dinámico -- */
	PN_CHECK(PN7160_SetCardUid(NULL, 0U));
	PN_CHECK(PN7160_SetMode(PN7160_MODE_READER));

	printf(COLOR_GREEN "ModoTarjeta OK" COLOR_RESET "\r\n");
}

static void PN7160_TestDeInit(void)
{
	PN7160_Info_t inf;

	/* -- Re-Init sobre un módulo inicializado: desinicializa y vuelve a arrancar -- */
	printf(COLOR_YELLOW "[DeInit]" COLOR_RESET "\r\n");
	PN_CHECK(PN7160_Iniciar());
	PN_CHECK(PN7160_GetInfo(&inf));
	PN_ASSERT(memcmp(&inf, &info, sizeof(inf)) == 0);

	/* -- DeInit: VEN en bajo y todo vuelve a NOT_INITIALIZED -- */
	PN_CHECK(PN7160_DeInit());
	PN_ASSERT(HAL_GPIO_ReadPin(PN_VEN_GPIO_Port, PN_VEN_Pin) == GPIO_PIN_RESET);
	PN7160_CheckSinInit();

	/* -- Init de nuevo: mismo chip y lector funcional (sin tag, WaitTag agota su tiempo) -- */
	PN_CHECK(PN7160_Iniciar());
	PN_CHECK(PN7160_GetInfo(&inf));
	PN_ASSERT(memcmp(&inf, &info, sizeof(inf)) == 0);
	PN_EXPECT(PN7160_WaitTag(&tag, TEST_TIMEOUT_MS, 0U), PN7160_TIMEOUT);

	printf(COLOR_GREEN "DeInit OK" COLOR_RESET "\r\n");
}

/* USER CODE END 4 */

void Error_Handler(void)
{
  /* USER CODE BEGIN Error_Handler_Debug */
  /* User can add his own implementation to report the HAL error return state */
  /* Si la UART aún no está inicializada, HAL_UART_Transmit devuelve BUSY sin bloquear */
  printf(COLOR_BOLD COLOR_RED "\r\nERROR: prueba fallida" COLOR_RESET "\r\n");
  while (1)
  {
	  HAL_GPIO_TogglePin(GPIOC, GPIO_PIN_13);
	  HAL_Delay(200);
  }
  /* USER CODE END Error_Handler_Debug */
}
